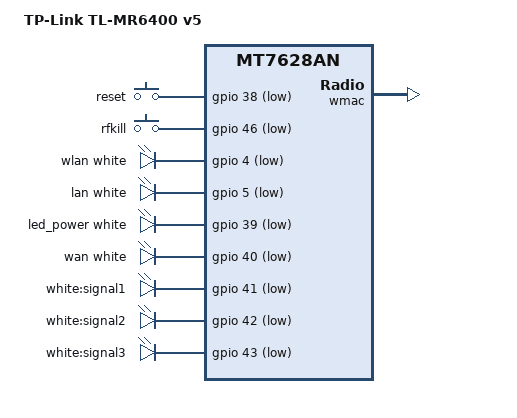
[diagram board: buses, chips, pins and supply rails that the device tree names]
// SPDX-License-Identifier: GPL-2.0-or-later OR MIT

#include <dt-bindings/leds/common.h>

#include "mt7628an_tplink_8m.dtsi"

/ {
	compatible = "tplink,tl-mr6400-v5", "mediatek,mt7628an-soc";
	model = "TP-Link TL-MR6400 v5";

	aliases {
		led-boot = &led_power;
		led-failsafe = &led_power;
		led-running = &led_power;
		led-upgrade = &led_power;
	};

	keys {
		compatible = "gpio-keys";

		reset {
			label = "reset";
			gpios = <&gpio 38 GPIO_ACTIVE_LOW>;
			linux,code = <KEY_RESTART>;
		};

		rfkill {
			label = "rfkill";
			gpios = <&gpio 46 GPIO_ACTIVE_LOW>;
			linux,code = <KEY_RFKILL>;
		};
	};

	leds {
		compatible = "gpio-leds";

		wlan {
			function = LED_FUNCTION_WLAN;
			color = <LED_COLOR_ID_WHITE>;
			gpios = <&gpio 4 GPIO_ACTIVE_LOW>;
			linux,default-trigger = "phy0tpt";
		};

		lan {
			function = LED_FUNCTION_LAN;
			color = <LED_COLOR_ID_WHITE>;
			gpios = <&gpio 5 GPIO_ACTIVE_LOW>;
		};

		led_power: power {
			function = LED_FUNCTION_POWER;
			color = <LED_COLOR_ID_WHITE>;
			gpios = <&gpio 39 GPIO_ACTIVE_LOW>;
		};

		wan {
			function = LED_FUNCTION_WAN;
			color = <LED_COLOR_ID_WHITE>;
			gpios = <&gpio 40 GPIO_ACTIVE_LOW>;
		};

		signal1 {
			label = "white:signal1";
			gpios = <&gpio 41 GPIO_ACTIVE_LOW>;
		};

		signal2 {
			label = "white:signal2";
			gpios = <&gpio 42 GPIO_ACTIVE_LOW>;
		};

		signal3 {
			label = "white:signal3";
			gpios = <&gpio 43 GPIO_ACTIVE_LOW>;
		};
	};
};

&state_default {
	gpio {
		groups = "i2c", "p0led_an", "p1led_an", "p2led_an", "p3led_an", "p4led_an", "uart1", "wdt";
		function = "gpio";
	};
};

&esw {
	mediatek,portmap = <0x37>;
	mediatek,portdisable = <0x30>;
};

&wmac {
	nvmem-cells = <&macaddr_factory_1f100>;
	nvmem-cell-names = "mac-address";
};

&ethernet {
	nvmem-cells = <&macaddr_factory_1f100>;
	nvmem-cell-names = "mac-address";
};

&factory {
	nvmem-layout {
		compatible = "fixed-layout";
		#address-cells = <1>;
		#size-cells = <1>;

		macaddr_factory_1f100: macaddr@1f100 {
			reg = <0x1f100 0x6>;
		};
	};
};
